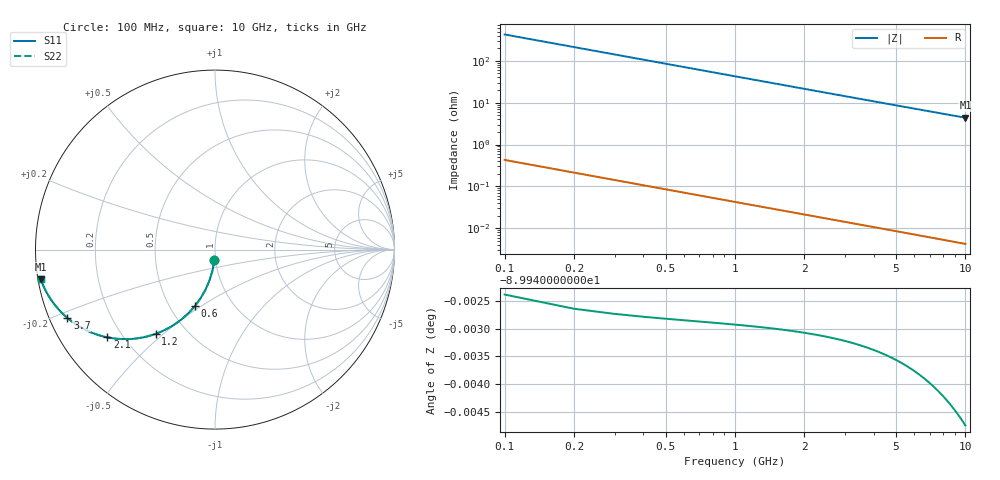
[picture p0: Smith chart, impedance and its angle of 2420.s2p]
# Hz S RI R 50.00
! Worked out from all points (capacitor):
!   100 points, 100 MHz to 10 GHz, reference 50 ohm
!   read as one part in shunt: C = 3.73 pF near 100 MHz
!   lowest |Z| = 4.37 ohm at 10 GHz (marker M1)
!   S11 on the Smith chart (normalised r, x): 100 MHz: 0.99, -0.12; 600 MHz: 0.67, -0.47; 1.2 GHz: 0.34, -0.47; 2.1 GHz: 0.14, -0.35; 3.7 GHz: 0.05, -0.22; 10 GHz: 0.01, -0.08
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1e8  -0.00348 -0.0584  0.9965 -0.0584  0.9965 -0.0584  -0.00348 -0.0584
2e8  -0.0137 -0.1155  0.9863 -0.1156  0.9863 -0.1156  -0.0137 -0.1155
3e8  -0.0301 -0.1704  0.9699 -0.1705  0.9699 -0.1705  -0.0301 -0.1704
4e8  -0.0523 -0.2219  0.9477 -0.2222  0.9477 -0.2222  -0.0523 -0.2219
5e8  -0.0792 -0.2695  0.9208 -0.2697  0.9208 -0.2697  -0.0792 -0.2695
6e8  -0.1102 -0.3124  0.8898 -0.3127  0.8898 -0.3127  -0.1102 -0.3124
7e8  -0.1441 -0.3505  0.8559 -0.3509  0.8559 -0.3509  -0.1441 -0.3505
9e8  -0.2175 -0.4118  0.7825 -0.4123  0.7825 -0.4123  -0.2175 -0.4118
1.2e9  -0.3302 -0.4695  0.6698 -0.4701  0.6698 -0.4701  -0.3302 -0.4695
1.5e9  -0.4347 -0.4948  0.5653 -0.4956  0.5653 -0.4956  -0.4347 -0.4948
1.8e9  -0.525 -0.4984  0.475 -0.4994  0.475 -0.4994  -0.525 -0.4984
2.1e9  -0.6003 -0.4888  0.3997 -0.4899  0.3997 -0.4899  -0.6003 -0.4888
2.4e9  -0.662 -0.4719  0.338 -0.4732  0.338 -0.4732  -0.662 -0.4719
2.7e9  -0.7122 -0.4515  0.2878 -0.4529  0.2878 -0.4529  -0.7122 -0.4515
3e9  -0.7532 -0.4299  0.2468 -0.4315  0.2468 -0.4315  -0.7532 -0.4299
3.4e9  -0.7964 -0.4012  0.2036 -0.4031  0.2036 -0.4031  -0.7964 -0.4012
3.7e9  -0.8223 -0.3808  0.1777 -0.3827  0.1777 -0.3827  -0.8223 -0.3808
4.3e9  -0.8618 -0.3434  0.1382 -0.3457  0.1382 -0.3457  -0.8618 -0.3434
5.1e9  -0.8975 -0.3014  0.1025 -0.3042  0.1025 -0.3042  -0.8975 -0.3014
6.7e9  -0.9377 -0.2393  0.0622 -0.2429  0.0622 -0.2429  -0.9377 -0.2393
8.4e9  -0.9594 -0.1945  0.0406 -0.1991  0.0406 -0.1991  -0.9594 -0.1945
1e10  -0.971 -0.1645  0.029 -0.17  0.029 -0.17  -0.971 -0.1645
